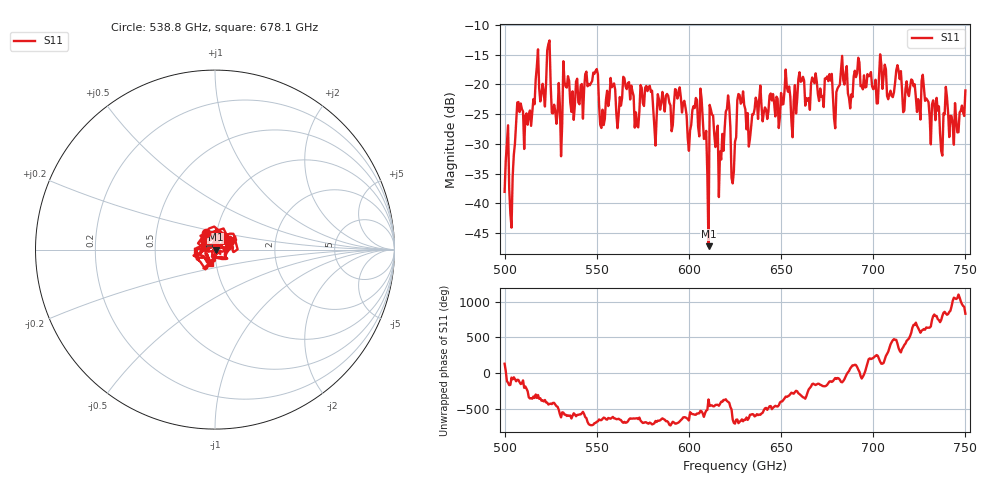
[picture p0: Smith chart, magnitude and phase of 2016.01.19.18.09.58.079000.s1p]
!Created with skrf (http://scikit-rf.org).
# GHz S RI R 50.0
!freq ReS11 ImS11
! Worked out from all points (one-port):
!   401 points, 500 GHz to 750 GHz, reference 50 ohm
!   lowest |S11| = -47.2 dB at 610.6 GHz (marker M1), VSWR 1.01, Z = 50.4 - j0.053 ohm
!   |S11| at or under -10 dB: start of sweep to end of sweep
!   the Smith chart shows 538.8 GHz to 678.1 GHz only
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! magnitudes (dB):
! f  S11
! 500 GHz  -38.1
! 503.8 GHz  -44.1
! 507.5 GHz  -23.0
! 511.9 GHz  -24.9
! 523.8 GHz  -13.2
! 526.9 GHz  -23.4
! 531.2 GHz  -26.6
! 549.4 GHz  -17.7
! 553.1 GHz  -24.3
! 558.8 GHz  -20.2
! 562.5 GHz  -22.1
! 593.8 GHz  -22.4
! 610.6 GHz  -47.2
! 612.5 GHz  -25.1
! 617.5 GHz  -32.6
! 621.2 GHz  -21.8
! 623.8 GHz  -36.7
! 625 GHz  -29.6
! 628.1 GHz  -23.2
! 632.5 GHz  -30.5
! 653.1 GHz  -20.5
! 656.2 GHz  -28.9
! 660.6 GHz  -19.5
! 687.5 GHz  -24.0
! 691.2 GHz  -18.1
! 718.8 GHz  -21.4
! 737.5 GHz  -32.0
! 750 GHz  -21.0
